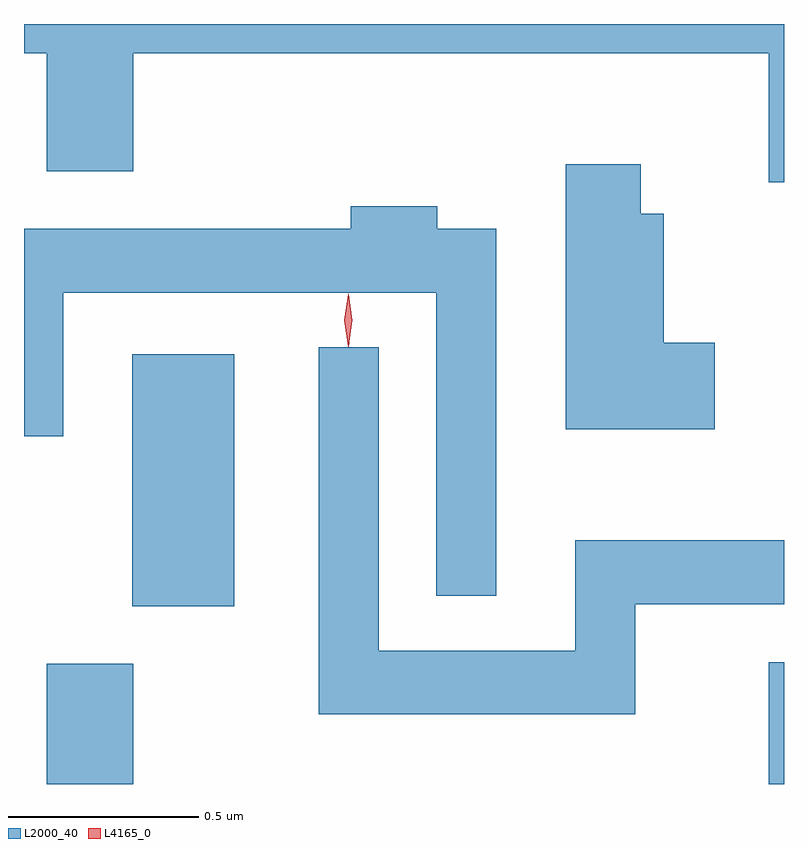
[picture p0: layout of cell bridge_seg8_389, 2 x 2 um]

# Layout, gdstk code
import gdstk
lib = gdstk.Library(unit=1e-6, precision=1e-09)
def R(c, l, rs):  # rectangles x0, y0, x1, y1
    for r in rs: c.add(gdstk.rectangle(r[:2], r[2:], *l))
def P(c, l, *ps):  # polygons
    for p in ps: c.add(gdstk.Polygon(p, *l))
L2000_40 = (2000, 40)
L4165_0 = (4165, 0)

bridge_seg8_389 = lib.new_cell('bridge_seg8_389')
R(bridge_seg8_389, L2000_40, [(683.091,1896.653,683.319,1896.969), (684.991,1896.653,685.031,1896.974), (683.316,1897.121,683.584,1897.784)])
P(bridge_seg8_389, L2000_40, [(685.031,1898.653),(683.031,1898.653),(683.031,1898.576),(683.091,1898.576),(683.091,1898.266),(683.319,1898.266),(683.319,1898.576),(684.991,1898.576),(684.991,1898.236),(685.031,1898.236)],
  [(684.849,1897.814),(684.714,1897.814),(684.714,1898.154),(684.654,1898.154),(684.654,1898.284),(684.456,1898.284),(684.456,1897.586),(684.849,1897.586)],
  [(684.274,1898.114),(684.119,1898.114),(684.119,1898.174),(683.891,1898.174),(683.891,1898.114),(683.031,1898.114),(683.031,1897.568),(683.134,1897.568),(683.134,1897.946),(684.116,1897.946),(684.116,1897.148),(684.274,1897.148)],
  [(684.639,1897.126),(685.031,1897.126),(685.031,1897.294),(684.481,1897.294),(684.481,1897.004),(683.964,1897.004),(683.964,1897.803),(683.806,1897.803),(683.806,1896.836),(684.639,1896.836)])
P(bridge_seg8_389, L4165_0, [(683.885,1897.807),(683.884,1897.808),(683.875,1897.874),(683.884,1897.94),(683.885,1897.94),(683.885,1897.94),(683.895,1897.874),(683.885,1897.808)],
  [(683.884,1897.804),(683.884,1897.804),(683.874,1897.874),(683.884,1897.942),(683.884,1897.943),(683.885,1897.942),(683.894,1897.874),(683.885,1897.804)])

lib.write_gds('bridge_seg8_389.gds')
